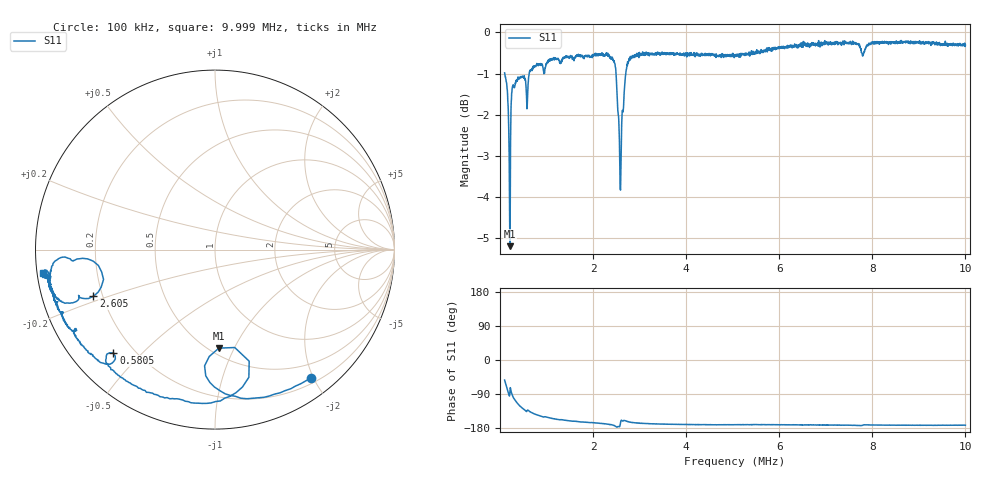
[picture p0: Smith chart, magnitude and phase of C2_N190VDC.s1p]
# HZ S RI R 50
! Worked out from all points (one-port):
!   2020 points, 100 kHz to 9.999 MHz, reference 50 ohm
!   lowest |S11| = -5.2 dB at 212.8 kHz (marker M1), VSWR 3.44, Z = 27.7 - j43.6 ohm
!   |S11| at or under -10 dB: nowhere
!   S11 on the Smith chart (normalised r, x): 100 kHz: 0.28, -1.97; 580.5 kHz: 0.13, -0.41; 2.605 MHz: 0.16, -0.18; 9.999 MHz: 0.02, -0.07
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100000  0.5368 -0.7136
139224  0.3034 -0.8153
163739  0.1434 -0.828
212769  0.0216 -0.5488
266702  -0.0462 -0.8567
291217  -0.1486 -0.847
335344  -0.267 -0.8245
408889  -0.426 -0.7725
511852  -0.5634 -0.6757
580494  -0.5655 -0.5762
840353  -0.7615 -0.5022
1340459  -0.8592 -0.3518
2222999  -0.9177 -0.1976
2424022  -0.9193 -0.1334
2473052  -0.9102 -0.0924
2531888  -0.8015 -0.0581
2576015  -0.6789 -0.0641
2605433  -0.6775 -0.2601
2659366  -0.7718 -0.2886
2737814  -0.8683 -0.277
2826068  -0.8991 -0.2444
3816474  -0.928 -0.1677
5052030  -0.9259 -0.1539
6287586  -0.951 -0.1489
7528045  -0.9657 -0.1367
7812419  -0.9319 -0.1431
8763601  -0.9651 -0.1339
9999157  -0.956 -0.1306
